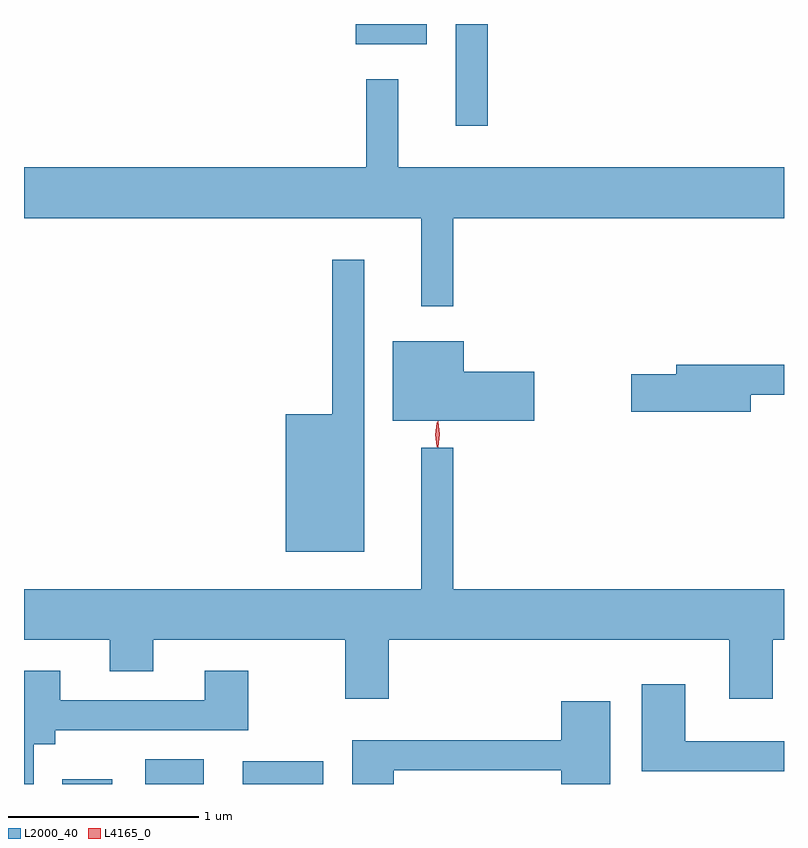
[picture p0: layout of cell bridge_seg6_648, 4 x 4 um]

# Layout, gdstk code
import gdstk
lib = gdstk.Library(unit=1e-6, precision=1e-09)
def R(c, l, rs):  # rectangles x0, y0, x1, y1
    for r in rs: c.add(gdstk.rectangle(r[:2], r[2:], *l))
def P(c, l, *ps):  # polygons
    for p in ps: c.add(gdstk.Polygon(p, *l))
L2000_40 = (2000, 40)
L4165_0 = (4165, 0)

bridge_seg6_648 = lib.new_cell('bridge_seg6_648')
R(bridge_seg6_648, L2000_40, [(231.141,1620.318,231.404,1620.344), (231.576,1620.318,231.884,1620.449), (232.091,1620.318,232.514,1620.439), (233.211,1623.783,233.379,1624.318), (232.686,1624.211,233.059,1624.318)])
P(bridge_seg6_648, L2000_40, [(233.199,1623.296),(234.939,1623.296),(234.939,1623.564),(232.909,1623.564),(232.909,1624.028),(232.741,1624.028),(232.741,1623.564),(230.939,1623.564),(230.939,1623.296),(233.031,1623.296),(233.031,1622.833),(233.199,1622.833)],
  [(232.729,1623.078),(232.561,1623.078),(232.561,1622.264),(232.316,1622.264),(232.316,1621.541),(232.729,1621.541)],
  [(233.624,1622.489),(233.254,1622.489),(233.254,1622.649),(232.881,1622.649),(232.881,1622.231),(233.624,1622.231)],
  [(234.764,1622.366),(234.939,1622.366),(234.939,1622.524),(234.371,1622.524),(234.371,1622.474),(234.136,1622.474),(234.136,1622.276),(234.764,1622.276)],
  [(232.859,1621.076),(234.651,1621.076),(234.651,1620.766),(234.879,1620.766),(234.879,1621.076),(234.939,1621.076),(234.939,1621.344),(233.199,1621.344),(233.199,1622.088),(233.031,1622.088),(233.031,1621.344),(230.939,1621.344),(230.939,1621.076),(231.391,1621.076),(231.391,1620.911),(231.619,1620.911),(231.619,1621.076),(232.631,1621.076),(232.631,1620.766),(232.859,1620.766)],
  [(230.989,1620.526),(231.104,1620.526),(231.104,1620.601),(232.119,1620.601),(232.119,1620.914),(231.891,1620.914),(231.891,1620.759),(231.129,1620.759),(231.129,1620.914),(230.939,1620.914),(230.939,1620.318),(230.989,1620.318)],
  [(234.939,1620.544),(234.419,1620.544),(234.419,1620.844),(234.191,1620.844),(234.191,1620.386),(234.939,1620.386)],
  [(232.884,1620.391),(233.766,1620.391),(233.766,1620.318),(234.024,1620.318),(234.024,1620.754),(233.766,1620.754),(233.766,1620.549),(232.666,1620.549),(232.666,1620.318),(232.884,1620.318)])
P(bridge_seg6_648, L4165_0, [(233.112,1622.093),(233.103,1622.156),(233.112,1622.219),(233.112,1622.22),(233.113,1622.219),(233.123,1622.156),(233.114,1622.093),(233.113,1622.093)],
  [(233.117,1622.09),(233.108,1622.158),(233.117,1622.226),(233.118,1622.226),(233.118,1622.226),(233.128,1622.158),(233.118,1622.09),(233.118,1622.09)])

lib.write_gds('bridge_seg6_648.gds')
